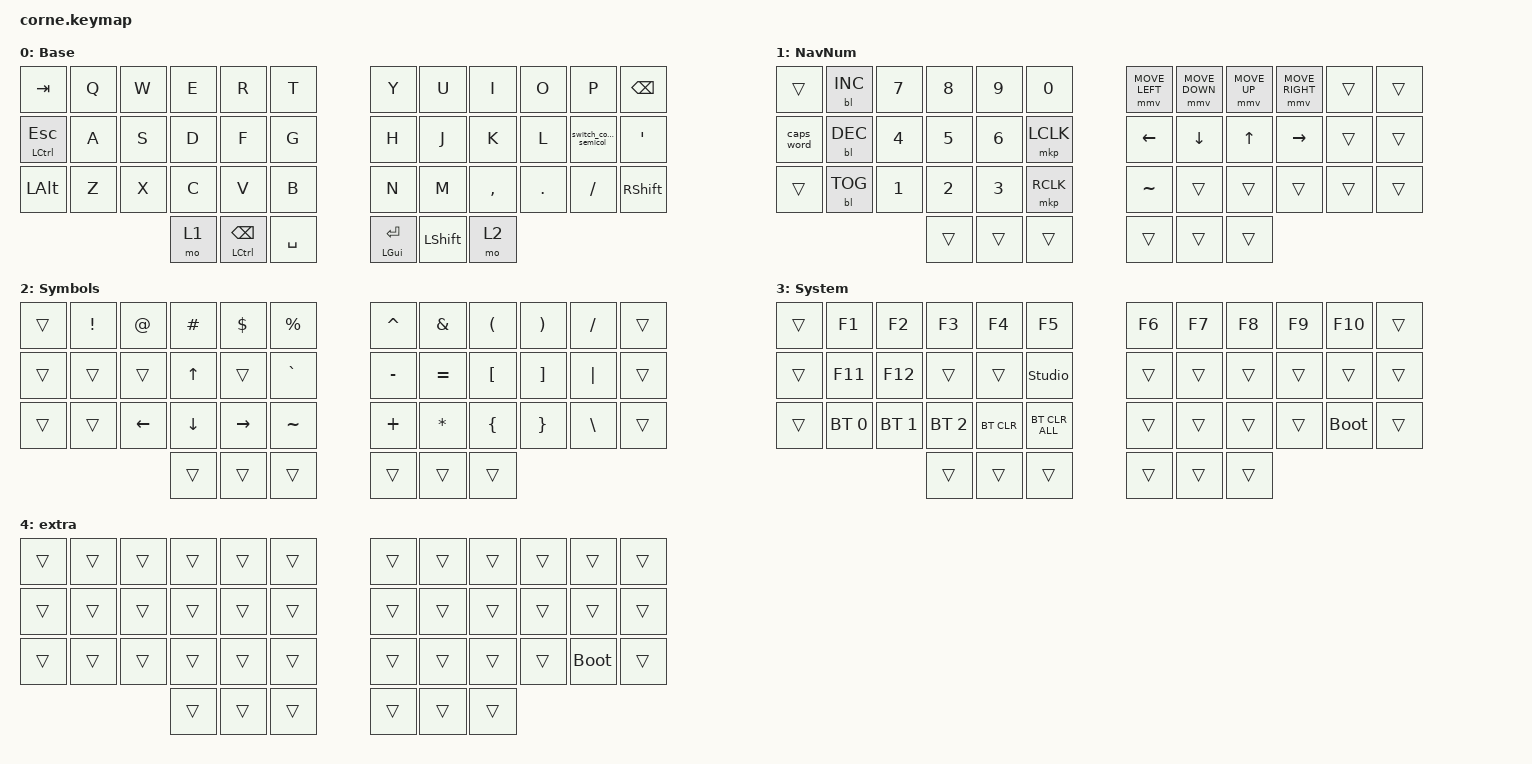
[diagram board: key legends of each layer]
#include <behaviors.dtsi>
#include <dt-bindings/zmk/backlight.h>
#include <dt-bindings/zmk/bt.h>
#include <dt-bindings/zmk/keys.h>
#include <dt-bindings/zmk/pointing.h>

#define DEF 0
#define NAV 1
#define SYM 2
#define ADJ 3
#define EXTRA 4

/ {
    behaviors {
        hm: homerow_mods {
            compatible = "zmk,behavior-hold-tap";
            label = "HOMEROW_MODS";
            #binding-cells = <2>;
            tapping-term-ms = <200>;
            quick_tap_ms = <0>;
            flavor = "tap-preferred";
            bindings = <&kp>, <&kp>;

            quick-tap-ms = <180>;
            global-quick-tap;
        };

        para: para {
            compatible = "zmk,behavior-tap-dance";
            label = "PARA";
            #binding-cells = <0>;
            bindings = <&kp LEFT_PARENTHESIS>, <&kp RIGHT_PARENTHESIS>;
        };

        caps: caps {
            compatible = "zmk,behavior-caps-word";
            label = "CAPS";
            #binding-cells = <0>;
            continue-list = <MINUS BACKSPACE>;
        };

        paraless: paraless {
            compatible = "zmk,behavior-mod-morph";
            label = "PARALESS";
            bindings = <&kp LEFT_PARENTHESIS>, <&kp LESS_THAN>;

            #binding-cells = <0>;
            mods = <(MOD_LSFT)>;
        };

        paragreat: paragreat {
            compatible = "zmk,behavior-mod-morph";
            label = "PARAGREAT";
            bindings = <&kp RIGHT_PARENTHESIS>, <&kp GREATER_THAN>;

            #binding-cells = <0>;
            mods = <(MOD_LSFT)>;
        };

        switch_colon_semicol: switch_colon_semicol {
            compatible = "zmk,behavior-mod-morph";
            label = "SWITCH_COLON_SEMICOL";
            bindings = <&kp COLON>, <&kp SEMICOLON>;

            #binding-cells = <0>;
            mods = <(MOD_LSFT|MOD_RSFT)>;
        };
    };

    macros {
        browsertab: browsertab {
            compatible = "zmk,behavior-macro";
            #binding-cells = <0>;
            bindings =
                <&macro_press>,
                <&kp LCTRL>,
                <&macro_tap>,
                <&kp TAB>,
                <&macro_release>,
                <&kp LCTRL>;
        };
    };

    combos {
        compatible = "zmk,combos";

        escape {
            bindings = <&kp ESCAPE>;
            key-positions = <13 29>;
        };

        delete {
            bindings = <&kp DELETE>;
            key-positions = <15 21>;
        };

        perc {
            bindings = <&kp PERCENT>;
            key-positions = <5 17>;
        };

        equal {
            bindings = <&kp EQUAL>;
            key-positions = <28 16>;
        };

        dollar {
            bindings = <&kp DOLLAR>;
            key-positions = <4 16>;
        };

        pound {
            bindings = <&kp POUND>;
            key-positions = <3 15>;
        };

        at {
            bindings = <&kp AT>;
            key-positions = <2 14>;
        };

        backslash {
            bindings = <&kp BACKSLASH>;
            key-positions = <26 14>;
        };

        copy {
            bindings = <&kp K_COPY>;
            key-positions = <28 27>;
        };

        paste {
            bindings = <&kp K_PASTE>;
            key-positions = <26 27>;
        };

        star {
            bindings = <&kp STAR>;
            key-positions = <8 20>;
        };

        slash {
            bindings = <&kp SLASH>;
            key-positions = <32 20>;
        };

        plus {
            bindings = <&kp PLUS>;
            key-positions = <7 19>;
        };

        minus {
            bindings = <&kp KP_MINUS>;
            key-positions = <31 19>;
        };

        underscore {
            bindings = <&kp UNDER>;
            key-positions = <30 18>;
        };

        leftbrack {
            bindings = <&kp LEFT_BRACKET>;
            key-positions = <31 32>;
        };

        rightbrack {
            bindings = <&kp RIGHT_BRACKET>;
            key-positions = <33 32>;
        };

        para-less {
            bindings = <&paraless>;
            key-positions = <20 19>;
        };

        para-great {
            bindings = <&paragreat>;
            key-positions = <20 21>;
        };
    };

    //

    keymap {
        compatible = "zmk,keymap";

        DEF {
            display-name = "Base";

            // -----------------------------------------------------------------------------------------
            // |  Q  |  W  |  E  |  R  |  T  |   |  Y  |  U   |  I  |  O  |  P  |
            // |  A  |  S  |  D  |  F  |  G  |   |  H  |  J   |  K  |  L  |  ;  |
            // |  Z  |  X  |  C  |  V  |  B  |   |  N  |  M   |  ,  |  .  |  /  |
            // | GUI | CTRL | SHFT | LWR | SPC |   | ENT | RSE  | BKSP | ALT | ESC |

            bindings = <
&kp TAB        &kp Q  &kp W           &kp E        &kp R                &kp T          &kp Y             &kp U           &kp I        &kp O            &kp P                  &kp BACKSPACE
&mt LCTRL ESC  &kp A  &kp S  &kp D  &kp F     &kp G    &kp H   &kp J     &kp K  &kp L  &switch_colon_semicol  &kp SQT
&kp LEFT_ALT   &kp Z  &kp X           &kp C        &kp V                &kp B          &kp N             &kp M           &kp COMMA    &kp DOT          &kp FSLH               &kp RSHFT
                                      &mo 1        &mt LCTRL BACKSPACE  &kp SPACE      &mt LEFT_GUI RET  &kp LEFT_SHIFT  &mo 2
            >;
        };

        NAV {
            display-name = "NavNum";

            // -----------------------------------------------------------------------------------------
            // |  TAB |  1  |  2  |  3  |  4  |  5  |   |  6  |  7  |  8  |  9  |  0  | BKSP |
            // | BTCLR| BT1 | BT2 | BT3 | BT4 | BT5 |   | LFT | DWN |  UP | RGT |     |      |
            // | SHFT |     |     |     |     |     |   |     |     |     |     |     |      |
            // | GUI | CTRL | SHFT | LWR | SPC |   | ENT | RSE  | BKSP | ALT | ESC |

            bindings = <
&trans      &bl BL_INC  &kp N7        &kp N8        &kp N9        &kp N0       &mmv MOVE_LEFT  &mmv MOVE_DOWN  &mmv MOVE_UP  &mmv MOVE_RIGHT  &trans  &trans
&caps_word  &bl BL_DEC  &kp NUMBER_4  &kp NUMBER_5  &kp NUMBER_6  &mkp LCLK    &kp LEFT_ARROW  &kp DOWN_ARROW  &kp UP_ARROW  &kp RIGHT_ARROW  &trans  &trans
&trans      &bl BL_TOG  &kp NUMBER_1  &kp NUMBER_2  &kp NUMBER_3  &mkp RCLK    &kp TILDE       &trans          &trans        &trans           &trans  &trans
                                      &trans        &trans        &trans       &trans          &trans          &trans
            >;
        };

        SYM {
            display-name = "Symbols";

            // -----------------------------------------------------------------------------------------
            // |  TAB |  !  |  @  |  #  |  $  |  %  |   |  ^  |  &  |  *  |  (  |  )  | BKSP |
            // | CTRL |     |     |     |     |     |   |  -  |  =  |  [  |  ]  |  \  |  `   |
            // | SHFT |     |     |     |     |     |   |  _  |  +  |  {  |  }  | "|" |  ~   |
            //                    | GUI |     | SPC |   | ENT |     | ALT |

            bindings = <
&trans  &kp EXCL  &kp AT          &kp HASH        &kp DLLR         &kp PRCNT    &kp CARET  &kp AMPS   &kp LEFT_PARENTHESIS  &kp RIGHT_PARENTHESIS  &kp SLASH      &trans
&trans  &trans    &trans          &kp UP_ARROW    &trans           &kp GRAVE    &kp MINUS  &kp EQUAL  &kp LBKT              &kp RBKT               &kp PIPE       &trans
&trans  &trans    &kp LEFT_ARROW  &kp DOWN_ARROW  &kp RIGHT_ARROW  &kp TILDE    &kp PLUS   &kp ASTRK  &kp LBRC              &kp RBRC               &kp BACKSLASH  &trans
                                  &trans          &trans           &trans       &trans     &trans     &trans
            >;
        };

        ADJ {
            display-name = "System";
            bindings = <
&trans  &kp F1        &kp F2        &kp F3        &kp F4      &kp F5            &kp F6  &kp F7  &kp F8  &kp F9  &kp F10      &trans
&trans  &kp F11       &kp F12       &trans        &trans      &studio_unlock    &trans  &trans  &trans  &trans  &trans       &trans
&trans  &bt BT_SEL 0  &bt BT_SEL 1  &bt BT_SEL 2  &bt BT_CLR  &bt BT_CLR_ALL    &trans  &trans  &trans  &trans  &bootloader  &trans
                                    &trans        &trans      &trans            &trans  &trans  &trans
            >;
        };

        EXTRA {
            display-name = "extra";
            bindings = <
&trans  &trans  &trans  &trans  &trans  &trans    &trans  &trans  &trans  &trans  &trans       &trans
&trans  &trans  &trans  &trans  &trans  &trans    &trans  &trans  &trans  &trans  &trans       &trans
&trans  &trans  &trans  &trans  &trans  &trans    &trans  &trans  &trans  &trans  &bootloader  &trans
                        &trans  &trans  &trans    &trans  &trans  &trans
            >;
        };
    };

    conditional_layers {
        compatible = "zmk,conditional-layers";

        l3 {
            if-layers = <1 2>;
            then-layer = <3>;
        };
    };
};
